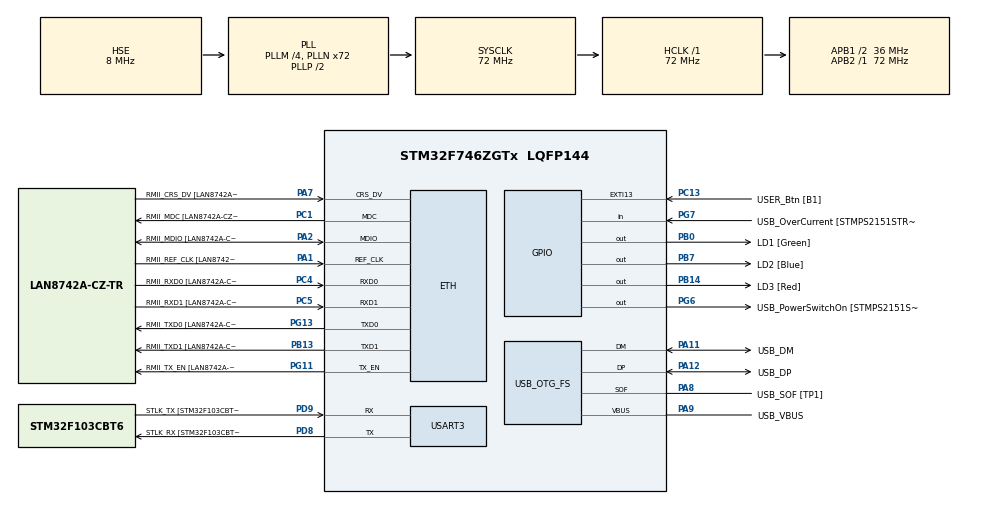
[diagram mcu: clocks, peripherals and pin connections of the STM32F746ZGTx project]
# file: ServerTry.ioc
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ETH.MediaInterface=ETH_MEDIA_INTERFACE_RMII
ETH.PHY_Name=LAN8742A_PHY_ADDRESS
ETH.PHY_Value=0
ETH.PhyAddress=0
FREERTOS.Tasks01=defaultTask,0,256,StartDefaultTask,Default,NULL,Dynamic,NULL,NULL
FREERTOS.configMINIMAL_STACK_SIZE=256
FREERTOS.configUSE_NEWLIB_REENTRANT=1
LWIP.GATEWAY_ADDRESS=192.168.001.001
LWIP.IP_ADDRESS=192.168.001.111
LWIP.LWIP_DHCP=0
LWIP.NETMASK_ADDRESS=255.255.255.000
LWIP.Version=v2.1.2_Cube
Mcu.Family=STM32F7
Mcu.Name=STM32F746ZGTx
Mcu.Package=LQFP144
NVIC.ETH_IRQn=true\:5\:0\:false\:false\:true\:true\:true\:true
NVIC.PriorityGroup=NVIC_PRIORITYGROUP_4
NVIC.TIM1_UP_TIM10_IRQn=true\:15\:0\:false\:false\:true\:false\:false\:true
NVIC.TimeBase=TIM1_UP_TIM10_IRQn
NVIC.TimeBaseIP=TIM1
PA1.GPIO_Label=RMII_REF_CLK [LAN8742A-CZ-TR_REFCLK0]
PA1.Mode=RMII
PA1.Signal=ETH_REF_CLK
PA10.GPIO_Label=USB_ID
PA10.Signal=USB_OTG_FS_ID
PA11.GPIO_Label=USB_DM
PA11.Mode=Device_Only
PA11.Signal=USB_OTG_FS_DM
PA12.GPIO_Label=USB_DP
PA12.Mode=Device_Only
PA12.Signal=USB_OTG_FS_DP
PA13.GPIO_Label=TMS
PA13.Mode=Serial_Wire
PA13.Signal=SYS_JTMS-SWDIO
PA14.GPIO_Label=TCK
PA14.Mode=Serial_Wire
PA14.Signal=SYS_JTCK-SWCLK
PA2.GPIO_Label=RMII_MDIO [LAN8742A-CZ-TR_MDIO]
PA2.Mode=RMII
PA2.Signal=ETH_MDIO
PA7.GPIO_Label=RMII_CRS_DV [LAN8742A-CZ-TR_CRS_DV]
PA7.Mode=RMII
PA7.Signal=ETH_CRS_DV
PA8.GPIO_Label=USB_SOF [TP1]
PA8.Mode=Activate_SOF_FS
PA8.Signal=USB_OTG_FS_SOF
PA9.GPIO_Label=USB_VBUS
PA9.Mode=Activate_VBUS
PA9.Signal=USB_OTG_FS_VBUS
PB0.GPIO_Label=LD1 [Green]
PB0.Signal=GPIO_Output
PB13.GPIO_Label=RMII_TXD1 [LAN8742A-CZ-TR_TXD1]
PB13.Mode=RMII
PB13.Signal=ETH_TXD1
PB14.GPIO_Label=LD3 [Red]
PB14.Signal=GPIO_Output
PB3.GPIO_Label=SW0
PB3.Signal=SYS_JTDO-SWO
PB7.GPIO_Label=LD2 [Blue]
PB7.Signal=GPIO_Output
PC1.GPIO_Label=RMII_MDC [LAN8742A-CZ-TR_MDC]
PC1.Mode=RMII
PC1.Signal=ETH_MDC
PC13.GPIO_Label=USER_Btn [B1]
PC13.Signal=GPXTI13
PC14/OSC32_IN.Mode=LSE-External-Oscillator
PC14/OSC32_IN.Signal=RCC_OSC32_IN
PC15/OSC32_OUT.Mode=LSE-External-Oscillator
PC15/OSC32_OUT.Signal=RCC_OSC32_OUT
PC4.GPIO_Label=RMII_RXD0 [LAN8742A-CZ-TR_RXD0]
PC4.Mode=RMII
PC4.Signal=ETH_RXD0
PC5.GPIO_Label=RMII_RXD1 [LAN8742A-CZ-TR_RXD1]
PC5.Mode=RMII
PC5.Signal=ETH_RXD1
PD8.GPIO_Label=STLK_RX [STM32F103CBT6_PA3]
PD8.Mode=Asynchronous
PD8.Signal=USART3_TX
PD9.GPIO_Label=STLK_TX [STM32F103CBT6_PA2]
PD9.Mode=Asynchronous
PD9.Signal=USART3_RX
PG11.GPIO_Label=RMII_TX_EN [LAN8742A-CZ-TR_TXEN]
PG11.Mode=RMII
PG11.Signal=ETH_TX_EN
PG13.GPIO_Label=RMII_TXD0 [LAN8742A-CZ-TR_TXD0]
PG13.Mode=RMII
PG13.Signal=ETH_TXD0
PG6.GPIO_Label=USB_PowerSwitchOn [STMPS2151STR_EN]
PG6.Signal=GPIO_Output
PG7.GPIO_Label=USB_OverCurrent [STMPS2151STR_FAULT]
PG7.Signal=GPIO_Input
PH0/OSC_IN.GPIO_Label=MCO [STM32F103CBT6_PA8]
PH0/OSC_IN.Mode=HSE-External-Clock-Source
PH0/OSC_IN.Signal=RCC_OSC_IN
PH1/OSC_OUT.Mode=HSE-External-Clock-Source
PH1/OSC_OUT.Signal=RCC_OSC_OUT
ProjectManager.HeapSize=0x400
ProjectManager.StackSize=0x800
ProjectManager.TargetToolchain=STM32CubeIDE
RCC.48MHZClocksFreq_Value=24000000
RCC.AHBFreq_Value=72000000
RCC.APB1CLKDivider=RCC_HCLK_DIV2
RCC.APB1Freq_Value=36000000
RCC.APB1TimFreq_Value=72000000
RCC.APB2Freq_Value=72000000
RCC.APB2TimFreq_Value=72000000
RCC.CortexFreq_Value=72000000
RCC.HCLKFreq_Value=72000000
RCC.HSE_VALUE=8000000
RCC.HSI_VALUE=16000000
RCC.PLLM=4
RCC.PLLMUL=RCC_PLL_MUL9
RCC.PLLN=72
RCC.PLLQ=3
RCC.PRESCALERUSB=RCC_USBCLKSOURCE_PLL_DIV1_5
RCC.SYSCLKFreq_VALUE=72000000
RCC.SYSCLKSource=RCC_SYSCLKSOURCE_PLLCLK
RCC.SYSCLKSourceVirtual=RCC_SYSCLKSOURCE_PLLCLK
RCC.USBFreq_Value=48000000
RCC.VCOOutputFreq_Value=144000000
USART3.VirtualMode-Asynchronous=VM_ASYNC
USB_OTG_FS.VirtualMode=Device_Only
VP_FREERTOS_VS_CMSIS_V1.Mode=CMSIS_V1
VP_LWIP_VS_Enabled.Mode=Enabled
VP_SYS_VS_tim1.Mode=TIM1
board=NUCLEO-F746ZG

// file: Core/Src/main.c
/* USER CODE BEGIN Header */
/**
  ******************************************************************************
  * @file           : main.c
  * @brief          : Main program body
  ******************************************************************************
  * @attention
  *
  * <h2><center>&copy; Copyright (c) 2022 STMicroelectronics.
  * All rights reserved.</center></h2>
  *
  * This software component is licensed by ST under Ultimate Liberty license
  * SLA0044, the "License"; You may not use this file except in compliance with
  * the License. You may obtain a copy of the License at:
  *                             www.st.com/SLA0044
  *
  ******************************************************************************
  */
/* USER CODE END Header */
#include "main.h"
#include "cmsis_os.h"
#include "lwip.h"

/* USER CODE BEGIN Includes */
#include "udp.h"
#include "ip_addr.h"
#include <stdio.h>
#include <string.h>
#include <stdlib.h>
#include "lwip/sockets.h"
#include "lwip/sys.h"
#include "lwip/dns.h"

#define PORT_NUM 69
#define BLOCK_SIZE 512
#define FILENAME_MAX_LEN 30
#define DATA_MAX_SIZE 1024 //2 BLOCKS MAX -1024 BYTES OF DATA
#define SERVER_MAX_FILES 10 //MAXIMUM 10 FILES CAN BE STORED
#define MODE_MAX_LEN 20
#define RECEIVED_PACKET_MAX_LEN 540 //512 Max block size + addition informations
#define BLOCK_7_FLASH_MEM_FIRST_ADDRESS 0x080C0000 //ATIM, Sector 7 (first address)
/* USER CODE END Includes */

UART_HandleTypeDef huart3;

PCD_HandleTypeDef hpcd_USB_OTG_FS;

osThreadId defaultTaskHandle;

void SystemClock_Config(void);
static void MX_GPIO_Init(void);
static void MX_USART3_UART_Init(void);
static void MX_USB_OTG_FS_PCD_Init(void);
void StartDefaultTask(void const * argument);

/* USER CODE BEGIN PFP */
void vSessionTask(void const * argument);
int write_data_to_flash_memory(uint8_t* filename,uint8_t* flash_mem_buffer);
int read_data_from_flash_memory(uint8_t *file_index);
void print_stored_files(uint8_t *file_index);
void get_all_files(char* buffer,int* buffer_size,uint8_t *file_index);
/* USER CODE END PFP */

/* USER CODE BEGIN 0 */
int __io_putchar(int ch)
{
	HAL_UART_Transmit(&huart3, (uint8_t *)&ch, 1, 0xFFFF);
	return ch;
}

struct A_FILE
{
	uint8_t filename[FILENAME_MAX_LEN];
	uint8_t data_content[DATA_MAX_SIZE];
};

struct Session
{
	uint16_t client_port;
	ip_addr_t host_addr;
	uint16_t session_opcode;
	uint8_t filename[FILENAME_MAX_LEN];
	uint8_t unused1;
	uint8_t unused2;
	uint8_t mode[MODE_MAX_LEN];
};

extern struct netif gnetif;
struct udp_pcb *conn;

uint32_t flash_addr=BLOCK_7_FLASH_MEM_FIRST_ADDRESS; //ATIM, Sector 7 (first address)
int i;
struct A_FILE files[SERVER_MAX_FILES];
const uint16_t write_opcode=2,read_opcode=1,data_opcode=3,ack_opcode=4,err_opcode=5,show_files=9;
const uint16_t file_not_found_error_code=1,file_already_exists_error_code=6,writing_reading_error_code=3;

uint8_t file_index=0;
uint8_t empty_message=0;

SemaphoreHandle_t flash_mem_semph=0;
/* USER CODE END 0 */

int main(void)
{

  /* MCU Configuration--------------------------------------------------------*/

  /* Reset of all peripherals, Initializes the Flash interface and the Systick. */
  HAL_Init();

  /* Configure the system clock */
  SystemClock_Config();

  /* Initialize all configured peripherals */
  MX_GPIO_Init();
  MX_USART3_UART_Init();
  MX_USB_OTG_FS_PCD_Init();
  /* USER CODE BEGIN 2 */
  //Read files from flash memory
  if(read_data_from_flash_memory(&file_index)<0)
  {
 	 Error_Handler();
  }

  //Print stored files (If any)
  print_stored_files(&file_index);
  printf("TFTP Server start working\r\n");
  /* USER CODE END 2 */

  /* USER CODE BEGIN RTOS_SEMAPHORES */
  /* add semaphores, ... */
  vSemaphoreCreateBinary(flash_mem_semph);
  /* USER CODE END RTOS_SEMAPHORES */

  /* Create the thread(s) */
  /* definition and creation of defaultTask */
  osThreadDef(defaultTask, StartDefaultTask, osPriorityNormal, 0, 256);
  defaultTaskHandle = osThreadCreate(osThread(defaultTask), NULL);

  /* USER CODE BEGIN RTOS_THREADS */
  /* add threads, ... */
  //Dynamic task allocation

  /* USER CODE END RTOS_THREADS */

  /* Start scheduler */
  osKernelStart();

  /* We should never get here as control is now taken by the scheduler */
  /* Infinite loop */
  while (1)
  {

  }
}

void SystemClock_Config(void)
{
  RCC_OscInitTypeDef RCC_OscInitStruct = {0};
  RCC_ClkInitTypeDef RCC_ClkInitStruct = {0};

  /** Configure LSE Drive Capability
  */
  HAL_PWR_EnableBkUpAccess();
  /** Configure the main internal regulator output voltage
  */
  __HAL_RCC_PWR_CLK_ENABLE();
  __HAL_PWR_VOLTAGESCALING_CONFIG(PWR_REGULATOR_VOLTAGE_SCALE3);
  /** Initializes the RCC Oscillators according to the specified parameters
  * in the RCC_OscInitTypeDef structure.
  */
  RCC_OscInitStruct.OscillatorType = RCC_OSCILLATORTYPE_HSE;
  RCC_OscInitStruct.HSEState = RCC_HSE_BYPASS;
  RCC_OscInitStruct.PLL.PLLState = RCC_PLL_ON;
  RCC_OscInitStruct.PLL.PLLSource = RCC_PLLSOURCE_HSE;
  RCC_OscInitStruct.PLL.PLLM = 4;
  RCC_OscInitStruct.PLL.PLLN = 72;
  RCC_OscInitStruct.PLL.PLLP = RCC_PLLP_DIV2;
  RCC_OscInitStruct.PLL.PLLQ = 3;
  if (HAL_RCC_OscConfig(&RCC_OscInitStruct) != HAL_OK)
  {
    Error_Handler();
  }
  /** Initializes the CPU, AHB and APB buses clocks
  */
  RCC_ClkInitStruct.ClockType = RCC_CLOCKTYPE_HCLK|RCC_CLOCKTYPE_SYSCLK
                              |RCC_CLOCKTYPE_PCLK1|RCC_CLOCKTYPE_PCLK2;
  RCC_ClkInitStruct.SYSCLKSource = RCC_SYSCLKSOURCE_PLLCLK;
  RCC_ClkInitStruct.AHBCLKDivider = RCC_SYSCLK_DIV1;
  RCC_ClkInitStruct.APB1CLKDivider = RCC_HCLK_DIV2;
  RCC_ClkInitStruct.APB2CLKDivider = RCC_HCLK_DIV1;

  if (HAL_RCC_ClockConfig(&RCC_ClkInitStruct, FLASH_LATENCY_2) != HAL_OK)
  {
    Error_Handler();
  }
}

static void MX_USART3_UART_Init(void)
{

  huart3.Instance = USART3;
  huart3.Init.BaudRate = 115200;
  huart3.Init.WordLength = UART_WORDLENGTH_8B;
  huart3.Init.StopBits = UART_STOPBITS_1;
  huart3.Init.Parity = UART_PARITY_NONE;
  huart3.Init.Mode = UART_MODE_TX_RX;
  huart3.Init.HwFlowCtl = UART_HWCONTROL_NONE;
  huart3.Init.OverSampling = UART_OVERSAMPLING_16;
  huart3.Init.OneBitSampling = UART_ONE_BIT_SAMPLE_DISABLE;
  huart3.AdvancedInit.AdvFeatureInit = UART_ADVFEATURE_NO_INIT;
  if (HAL_UART_Init(&huart3) != HAL_OK)
  {
    Error_Handler();
  }

}

static void MX_USB_OTG_FS_PCD_Init(void)
{

  hpcd_USB_OTG_FS.Instance = USB_OTG_FS;
  hpcd_USB_OTG_FS.Init.dev_endpoints = 6;
  hpcd_USB_OTG_FS.Init.speed = PCD_SPEED_FULL;
  hpcd_USB_OTG_FS.Init.dma_enable = DISABLE;
  hpcd_USB_OTG_FS.Init.phy_itface = PCD_PHY_EMBEDDED;
  hpcd_USB_OTG_FS.Init.Sof_enable = ENABLE;
  hpcd_USB_OTG_FS.Init.low_power_enable = DISABLE;
  hpcd_USB_OTG_FS.Init.lpm_enable = DISABLE;
  hpcd_USB_OTG_FS.Init.vbus_sensing_enable = ENABLE;
  hpcd_USB_OTG_FS.Init.use_dedicated_ep1 = DISABLE;
  if (HAL_PCD_Init(&hpcd_USB_OTG_FS) != HAL_OK)
  {
    Error_Handler();
  }

}

static void MX_GPIO_Init(void)
{
  GPIO_InitTypeDef GPIO_InitStruct = {0};

  /* GPIO Ports Clock Enable */
  __HAL_RCC_GPIOC_CLK_ENABLE();
  __HAL_RCC_GPIOH_CLK_ENABLE();
  __HAL_RCC_GPIOA_CLK_ENABLE();
  __HAL_RCC_GPIOB_CLK_ENABLE();
  __HAL_RCC_GPIOD_CLK_ENABLE();
  __HAL_RCC_GPIOG_CLK_ENABLE();

  /*Configure GPIO pin Output Level */
  HAL_GPIO_WritePin(GPIOB, LD1_Pin|LD3_Pin|LD2_Pin, GPIO_PIN_RESET);

  /*Configure GPIO pin Output Level */
  HAL_GPIO_WritePin(USB_PowerSwitchOn_GPIO_Port, USB_PowerSwitchOn_Pin, GPIO_PIN_RESET);

  /*Configure GPIO pin : USER_Btn_Pin */
  GPIO_InitStruct.Pin = USER_Btn_Pin;
  GPIO_InitStruct.Mode = GPIO_MODE_IT_RISING;
  GPIO_InitStruct.Pull = GPIO_NOPULL;
  HAL_GPIO_Init(USER_Btn_GPIO_Port, &GPIO_InitStruct);

  /*Configure GPIO pins : LD1_Pin LD3_Pin LD2_Pin */
  GPIO_InitStruct.Pin = LD1_Pin|LD3_Pin|LD2_Pin;
  GPIO_InitStruct.Mode = GPIO_MODE_OUTPUT_PP;
  GPIO_InitStruct.Pull = GPIO_NOPULL;
  GPIO_InitStruct.Speed = GPIO_SPEED_FREQ_LOW;
  HAL_GPIO_Init(GPIOB, &GPIO_InitStruct);

  /*Configure GPIO pin : USB_PowerSwitchOn_Pin */
  GPIO_InitStruct.Pin = USB_PowerSwitchOn_Pin;
  GPIO_InitStruct.Mode = GPIO_MODE_OUTPUT_PP;
  GPIO_InitStruct.Pull = GPIO_NOPULL;
  GPIO_InitStruct.Speed = GPIO_SPEED_FREQ_LOW;
  HAL_GPIO_Init(USB_PowerSwitchOn_GPIO_Port, &GPIO_InitStruct);

  /*Configure GPIO pin : USB_OverCurrent_Pin */
  GPIO_InitStruct.Pin = USB_OverCurrent_Pin;
  GPIO_InitStruct.Mode = GPIO_MODE_INPUT;
  GPIO_InitStruct.Pull = GPIO_NOPULL;
  HAL_GPIO_Init(USB_OverCurrent_GPIO_Port, &GPIO_InitStruct);

}

/* USER CODE BEGIN 4 */
static void udp_server_recv(void *arg, struct udp_pcb *upcb, struct pbuf *p,const ip_addr_t *addr, u16_t port)
{
	//Waiting for clients
	struct Session *session=NULL;
	uint16_t num_bytes_filename,num_bytes_mode;

	session=(struct Session*)malloc(sizeof(struct Session));
	session->client_port=port;
	session->host_addr=*addr;
	memcpy(&session->session_opcode,p->payload,2);//get opcode (2B)
	num_bytes_filename=sprintf((char*)session->filename,"%s",(char*)p->payload+2); //n bytes filename
	memcpy(&session->unused1,p->payload+2+num_bytes_filename+1,1); //1 byte unused
	num_bytes_mode=sprintf((char*)session->mode,"%s",(char*)p->payload+2+num_bytes_filename+2); //n bytes mode
	memcpy(&session->unused2, p->payload+2+num_bytes_filename+2+num_bytes_mode+1,1); //1 byte unused

	pbuf_free(p);

	//Create Session for this client
	osThreadDef(defaultSessionTask, vSessionTask, osPriorityNormal, 0, 256);
	osThreadCreate(osThread(defaultSessionTask), session);

}

void vSessionTask(void const *argument)
{
	struct Session *session=NULL;
	uint8_t *send_packet=NULL;
	uint16_t client_port,opcode,blocknum,get_blocknum,received_opcode,num_bytes_data;
	uint8_t i,file_ref=-1,show_none_size=9;
	int sockfd,block_len,get_files_buffer_size=0;
	socklen_t len,res;
	struct sockaddr_in servaddr,client_addr;
	uint8_t buffer[RECEIVED_PACKET_MAX_LEN];
	uint8_t flash_mem_buffer[DATA_MAX_SIZE];
	ip_addr_t host_addr;
	char *get_files_buffer=NULL;

	session=(struct Session*)argument;

	client_port=session->client_port;
	host_addr=session->host_addr;
	opcode=session->session_opcode;

	memset(&client_addr,0,sizeof(client_addr));
	memset(&servaddr,0,sizeof(servaddr));

	bzero(&client_addr, sizeof(client_addr));
	client_addr.sin_family=AF_INET; // IPv4
	client_addr.sin_addr.s_addr=host_addr.addr;
	client_addr.sin_port = htons(client_port);
	len=sizeof(client_addr);

	if ((sockfd = socket(AF_INET, SOCK_DGRAM, 0))<0)
	{
	        printf("Socket creation failed\r\n");
	        free(session);
	        session=NULL;
	        vTaskDelete(NULL);
	        return;
	}

	bzero(&servaddr, sizeof(servaddr));
	servaddr.sin_family=AF_INET; // IPv4
	servaddr.sin_addr.s_addr=htonl(INADDR_ANY);
	servaddr.sin_port=htons(client_port);

	//Bind client_port to socket
	if (bind(sockfd,(const struct sockaddr*)&servaddr,sizeof(servaddr))<0)
	{
		printf("Bind failed\r\n");
		free(session);
		session=NULL;
		vTaskDelete(NULL);
	    return;
	}

	printf("Client successfully created and binded to port: %d\r\n",client_port);
	len=sizeof(client_addr);

		if(opcode==show_files)
		{
			//Show files
			get_files_buffer=malloc(70*sizeof(*get_files_buffer));
			get_all_files(get_files_buffer,&get_files_buffer_size,&file_index);

			if(get_files_buffer_size==0)
			{
				//No files to show
				//Send back to client with special sign (=9)
				send_packet=(uint8_t*)malloc(1*sizeof(uint8_t));
				memcpy(send_packet,&show_none_size,1);
				//Send packet containing file's content back to client
				sendto(sockfd,send_packet,1,0,(struct sockaddr*)&client_addr, sizeof(client_addr));
			}
			else
			{
				//Send back to client
				send_packet=(uint8_t*)malloc(get_files_buffer_size*sizeof(uint8_t));
				memcpy(send_packet,get_files_buffer,get_files_buffer_size);
				//Send packet containing file's content back to client
				sendto(sockfd,send_packet,get_files_buffer_size,0,(struct sockaddr*)&client_addr, sizeof(client_addr));
			}

			free(send_packet);
			send_packet=NULL;
			free(get_files_buffer);
			get_files_buffer=NULL;
			//Close Session
			free(session);
			session=NULL;
			vTaskDelete(NULL);
			return;
		}else if(opcode==read_opcode)
		{
				//Read request
				//Search for file in the memory
				for(i=0;i<file_index;i++)
				{
					if(strcmp((char*)session->filename,(char*)files[i].filename)==0)
					{
						file_ref=i;
					}
				}

				//Send data back(opcode=1)
				//2B (opcode=3) | 2B (block number) | 0-512B (Block data)
				if(file_ref>=0) //file has been found
				{
					blocknum=1;
					block_len=strlen((char*)files[file_ref].data_content);
					if(block_len<BLOCK_SIZE)
					{
						//Send block len
						send_packet=(uint8_t*)malloc(4+block_len);
						memcpy(send_packet,&data_opcode,2);
						memcpy(send_packet+2,&blocknum,2);
						memcpy(send_packet+4,files[file_ref].data_content+(blocknum-1),block_len);
						//Send packet containing file's content back to client
						sendto(sockfd,send_packet,4+block_len,0,(struct sockaddr*)&client_addr, sizeof(client_addr));
					}
					else
					{
						//Send max block num - 512 Bytes
						send_packet=(uint8_t*)malloc(4+BLOCK_SIZE);
						memcpy(send_packet,&opcode,2);
						memcpy(send_packet+2,&blocknum,2);
						memcpy(send_packet+4,files[file_ref].data_content+(blocknum-1),BLOCK_SIZE);
						//Send packet containing file's content back to client
						sendto(sockfd,send_packet,4+BLOCK_SIZE,0,(struct sockaddr*)&client_addr, sizeof(client_addr));
					}

					free(send_packet);
					send_packet=NULL;
				}
				else
				{
					//No such file
					//Send error packet(opcode=5) NACK
					//2B (opcode=5) | 2B (error code)
					block_len=4;
					send_packet=(uint8_t*)malloc(block_len);
					memcpy(send_packet,&err_opcode,2); //error opcode (2bytes)
					memcpy(send_packet+2,&file_not_found_error_code,2); //err code (2bytes)
					sendto(sockfd,send_packet,block_len,0,(struct sockaddr*)&client_addr, sizeof(client_addr));

					free(send_packet);
					send_packet=NULL;

					//Close Session
					free(session);
					session=NULL;
					vTaskDelete(NULL);
					return;
				}

			}else if(opcode==write_opcode) //Write request from client
			{
				//Write request (OPCODE = 2)

				//Check if filename already exists
				for(i=0;i<file_index;i++)
				{
					if(strcmp((char*)session->filename,(char*)files[i].filename)==0)
					{
						//File already exists
						printf("File already exists\r\n");
						//Send error packet(opcode=5) NACK
						//2B (opcode=5) | 2B (error code)
						block_len=4;
						send_packet=(uint8_t*)malloc(block_len);
						memcpy(send_packet,&err_opcode,2); //error opcode (2bytes)
						memcpy(send_packet+2,&file_already_exists_error_code,2); //err code (2bytes)
						sendto(sockfd,send_packet,block_len,0,(struct sockaddr*)&client_addr, sizeof(client_addr));

						free(send_packet);
						send_packet=NULL;

						//Close Session
						free(session);
						session=NULL;
						vTaskDelete(NULL);
						return;
					}
				}
				//Send ACK back to client(OPCODE = 4)
				blocknum=0; //Starting from first block to send
				block_len=4;
				send_packet=(uint8_t*)malloc(block_len);
				memcpy(send_packet,&ack_opcode,2); //ack opcode (2bytes)
				memcpy(send_packet+2,&blocknum,2); //block number (2bytes)

				sendto(sockfd,send_packet,block_len,0,(struct sockaddr*)&client_addr, sizeof(client_addr));

				free(send_packet);
				send_packet=NULL;
			}else
			{
				//Invalid opcode
				printf("Invalid opcode\r\n");
				//Close Session
				free(session);
				session=NULL;
				vTaskDelete(NULL);
				return;
			}

	for(;;)
	{
		recvfrom(sockfd,buffer,sizeof(buffer),0,(struct sockaddr*)&client_addr,&len);
		//Extract packet's data
		memcpy(&received_opcode,buffer,2); //Get opcode

		if(received_opcode==data_opcode) //Data to write to memory
		{
			//Data to write (OPCODE = 3)
			memcpy(&get_blocknum,buffer+2,2); //Get blocknum
			num_bytes_data=sprintf((char*)flash_mem_buffer+(get_blocknum*BLOCK_SIZE),"%s",buffer+4); //n bytes data

			if(num_bytes_data<=BLOCK_SIZE) //Last block
			{
				//Copy to flash memory
				xSemaphoreTake(flash_mem_semph,osWaitForever);
				res=write_data_to_flash_memory(session->filename,flash_mem_buffer);
				osSemaphoreRelease(flash_mem_semph);
				if(res<0)
				{
					//fault
					printf("Error in writing to flash\r\n");
					//Send error packet(opcode=5) NACK
					//2B (opcode=5) | 2B (error code)
					block_len=4;
					send_packet=(uint8_t*)malloc(block_len);
					memcpy(send_packet,&err_opcode,2); //error opcode (2bytes)
					memcpy(send_packet+2,&writing_reading_error_code,2); //err code (2bytes)
					sendto(sockfd,send_packet,block_len,0,(struct sockaddr*)&client_addr, sizeof(client_addr));

					free(send_packet);
					send_packet=NULL;
					break;
				}
				//Recalc files from flash
				flash_addr=BLOCK_7_FLASH_MEM_FIRST_ADDRESS; //ATIM, Sector 7 (first address)
				file_index=0;
				if(read_data_from_flash_memory(&file_index)<0)
				{
					//fault
					printf("Error in reading from flash memory\r\n");
					free(send_packet);
					send_packet=NULL;
					break;
				}
				print_stored_files(&file_index);

				//Send ACK back to client(OPCODE = 4)
				get_blocknum++; //ACK this block
				//2B (opcode=4) | 2B (block number)
				block_len=4;
				send_packet=(uint8_t*)malloc(block_len);
				memcpy(send_packet,&ack_opcode,2); //error opcode (2bytes)
				memcpy(send_packet+2,&get_blocknum,2); //err code (2bytes)
				sendto(sockfd,send_packet,block_len,0,(struct sockaddr*)&client_addr, sizeof(client_addr));

				//Since its last block we can end this session
				free(send_packet);
				send_packet=NULL;
				break;

			}
			//Send ACK back to client(OPCODE = 4)
			get_blocknum++; //ACK this block
			//2B (opcode=4) | 2B (block number)
			block_len=4;
			send_packet=(uint8_t*)malloc(block_len);
			memcpy(send_packet,&ack_opcode,2); //error opcode (2bytes)
			memcpy(send_packet+2,&get_blocknum,2); //err code (2bytes)
			sendto(sockfd,send_packet,block_len,0,(struct sockaddr*)&client_addr, sizeof(client_addr));

			memset(buffer,0,sizeof(buffer));

			free(send_packet);
			send_packet=NULL;

		}
		else if(received_opcode==ack_opcode) //Received ACK from client (on read request)
		{
			//Data ACK (OPCODE = 4)
			memcpy(&get_blocknum, buffer+2,2); //Get blocknum

			get_blocknum++;//2

			block_len=strlen((char*)files[file_ref].data_content+((get_blocknum-1)*BLOCK_SIZE));

			if(block_len<BLOCK_SIZE)
			{
				//Send empty message indicating end of block
				send_packet=(uint8_t*)malloc(5);
				memcpy(send_packet,&data_opcode,2);
				memcpy(send_packet+2,&get_blocknum,2);
				memcpy(send_packet+4,&empty_message,1);
				//Send packet containing file's content back to client
				sendto(sockfd,send_packet,5,0,(struct sockaddr*)&client_addr, sizeof(client_addr));
				free(send_packet);
				send_packet=NULL;
				//Exit Session
				break;
			}
			else
			{
				//Send max block num - 512 Bytes
				send_packet=(uint8_t*)malloc(4+BLOCK_SIZE);
				memcpy(send_packet,&data_opcode,2);
				memcpy(send_packet+2,&get_blocknum,2);
				memcpy(send_packet+4,files[file_ref].data_content+(get_blocknum-1),BLOCK_SIZE);
				//Send packet containing file's content back to client
				sendto(sockfd,send_packet,4+BLOCK_SIZE,0,(struct sockaddr*)&client_addr, sizeof(client_addr));
				free(send_packet);
				send_packet=NULL;
			}

		}

	}//for loop

	printf("End client session, port: %d\r\n",client_port);
	//Release task's resources
	memset(buffer,0,sizeof(buffer));
	free(session);
	session=NULL;
	vTaskDelete(NULL);

}

int write_data_to_flash_memory(uint8_t* filename,uint8_t* flash_mem_buffer)
{

	uint32_t i;
	const char filename_seperator='^';
	const char data_seperator=';';

	if(HAL_FLASH_Unlock()!=HAL_OK)
	{
		printf("Error unlocking flash memory\r\n");
		return -1;
	}

	//Write filename
	for(i=0;i<strlen((char*)filename);i++)
	{
		HAL_FLASH_Program(FLASH_TYPEPROGRAM_BYTE, flash_addr, filename[i]);
		flash_addr++;
	}
	HAL_FLASH_Program(FLASH_TYPEPROGRAM_BYTE, flash_addr, filename_seperator);
	flash_addr++;
	//Write data
	for(i=0;i<strlen((char*)flash_mem_buffer);i++)
	{
		HAL_FLASH_Program(FLASH_TYPEPROGRAM_BYTE, flash_addr, flash_mem_buffer[i]);
		flash_addr++;
	}
	HAL_FLASH_Program(FLASH_TYPEPROGRAM_BYTE, flash_addr, data_seperator);
	flash_addr++;

	if(HAL_FLASH_Lock()!=HAL_OK)
	{
		printf("Error locking flash memory\r\n");
		return -1;
	}

	return 0;

}

int read_data_from_flash_memory(uint8_t *file_index)
{
	uint8_t j,k;
	uint8_t data_direction;
	const char filename_seperator='^';
	const char data_seperator=';';

	j=0;
	k=0;
	data_direction=0;

	if(HAL_FLASH_Unlock()!=HAL_OK)
	{
		printf("Error unlocking flash memory\r\n");
		return -1;
	}

	for(;;)
	{
		if((*(__IO uint8_t*)flash_addr)==255 || (*(__IO uint8_t*)flash_addr)==0xFF)
		{
			break;
		}

		if(!data_direction)//filename
		{
			if(*(__IO uint8_t*)flash_addr!=filename_seperator)
			{
				files[*file_index].filename[j++]=*(__IO uint8_t*)flash_addr;
				flash_addr++;
			}
			else
			{
				data_direction=1;
				flash_addr++;
			}
		}
		else
		{
			if(*(__IO uint8_t*)flash_addr!=data_seperator)
			{
				files[*file_index].data_content[k++]=*(__IO uint8_t*)flash_addr;
				flash_addr++;
			}
			else
			{
				j=0;
				k=0;
				data_direction=0;
				(*file_index)++;
				flash_addr++;
			}
		}

	}

	if(HAL_FLASH_Lock()!=HAL_OK)
	{
		printf("Error locking flash memory\r\n");
		return -1;
	}

	return 0;

}

void print_stored_files(uint8_t *file_index)
{
	uint8_t i;

	printf("Stored Files:\r\n");
	if(*file_index==0)
	{
		printf("There are currently no stored files\r\n");
	}
	else
	{
		for(i=0;i<*file_index;i++)
		{
		  	printf("%d) %s\r\n",(i+1),files[i].filename);
		}
	}

}

void get_all_files(char* buffer,int* buffer_size,uint8_t *file_index)
{
	uint8_t i;
	int bytes=0,total_bytes=0;

	if(*file_index==0)
	{
		//No files
		printf("no files\r\n");
		*buffer_size=0;
		return;
	}
	else
	{
		//Get files
		bytes=sprintf(buffer,"%s",files[0].filename);
		total_bytes=bytes;
		for(i=1;i<*file_index;i++)
		{
			bytes=sprintf(buffer+total_bytes,"%s",files[i].filename);
			total_bytes+=bytes;
		}
		*buffer_size=strlen(buffer);
	}

}

/* USER CODE END 4 */

void StartDefaultTask(void const * argument)
{
  /* init code for LWIP */
  MX_LWIP_Init();
  /* USER CODE BEGIN 5 */
  conn=udp_new();
  udp_bind(conn, IP_ANY_TYPE, PORT_NUM);
  udp_recv(conn, udp_server_recv, NULL);

  /* Infinite loop */
  for(;;)
  {
    osDelay(100);
  }
  /* USER CODE END 5 */
}

void HAL_TIM_PeriodElapsedCallback(TIM_HandleTypeDef *htim)
{
  if (htim->Instance == TIM1) {
    HAL_IncTick();
  }
}

void Error_Handler(void)
{
  __disable_irq();
  while (1)
  {
  }
}
